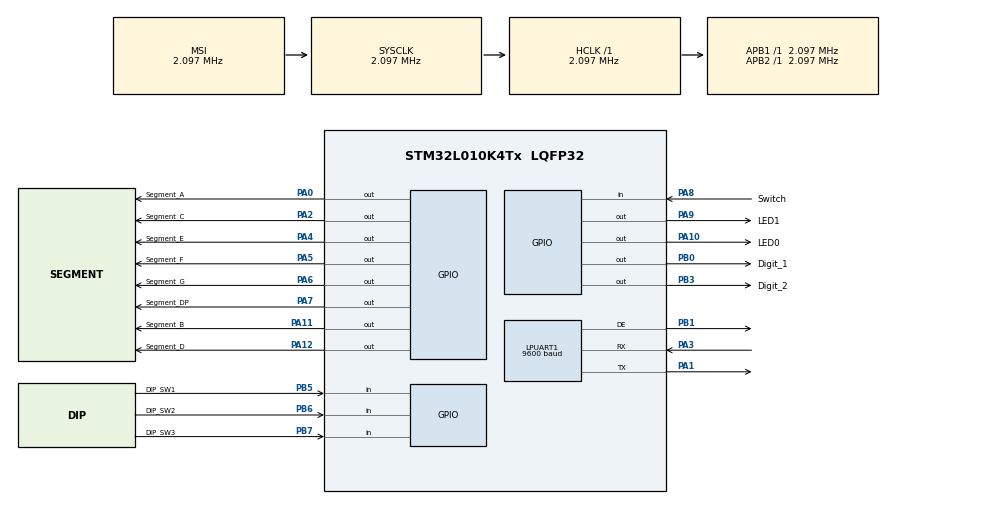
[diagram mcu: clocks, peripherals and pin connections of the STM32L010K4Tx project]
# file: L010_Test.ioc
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LPUART1.BaudRate=9600
LPUART1.WordLength=UART_WORDLENGTH_8B
Mcu.Family=STM32L0
Mcu.Name=STM32L010K4Tx
Mcu.Package=LQFP32
NVIC.LPUART1_IRQn=true\:0\:0\:false\:false\:true\:true\:true\:true
PA0-CK_IN.GPIO_Label=Segment_A
PA0-CK_IN.Signal=GPIO_Output
PA1.Mode=Asynchronous
PA1.Signal=LPUART1_TX
PA10.GPIO_Label=LED0
PA10.Signal=GPIO_Output
PA11.GPIO_Label=Segment_B
PA11.Signal=GPIO_Output
PA12.GPIO_Label=Segment_D
PA12.Signal=GPIO_Output
PA13.Mode=Serial_Wire
PA13.Signal=SYS_SWDIO
PA14.Mode=Serial_Wire
PA14.Signal=SYS_SWCLK
PA2.GPIO_Label=Segment_C
PA2.Signal=GPIO_Output
PA3.Mode=Asynchronous
PA3.Signal=LPUART1_RX
PA4.GPIO_Label=Segment_E
PA4.Signal=GPIO_Output
PA5.GPIO_Label=Segment_F
PA5.Signal=GPIO_Output
PA6.GPIO_Label=Segment_G
PA6.Signal=GPIO_Output
PA7.GPIO_Label=Segment_DP
PA7.Signal=GPIO_Output
PA8.GPIO_Label=Switch
PA8.Signal=GPIO_Input
PA9.GPIO_Label=LED1
PA9.Signal=GPIO_Output
PB0.GPIO_Label=Digit_1
PB0.Signal=GPIO_Output
PB1.Mode=Hardware Flow Control (RS485)
PB1.Signal=LPUART1_DE
PB3.GPIO_Label=Digit_2
PB3.Signal=GPIO_Output
PB5.GPIO_Label=DIP_SW1
PB5.Signal=GPIO_Input
PB6.GPIO_Label=DIP_SW2
PB6.Signal=GPIO_Input
PB7.GPIO_Label=DIP_SW3
PB7.Signal=GPIO_Input
ProjectManager.HeapSize=0x200
ProjectManager.StackSize=0x400
ProjectManager.TargetToolchain=EWARM
RCC.AHBFreq_Value=2097000
RCC.APB1Freq_Value=2097000
RCC.APB1TimFreq_Value=2097000
RCC.APB2Freq_Value=2097000
RCC.APB2TimFreq_Value=2097000
RCC.HSE_VALUE=8000000
RCC.HSI16_VALUE=16000000
RCC.HSI_VALUE=16000000
RCC.LSE_VALUE=32768
RCC.MSI_VALUE=2097000
RCC.SYSCLKFreq_VALUE=2097000
RCC.VCOOutputFreq_Value=48000000
board=custom

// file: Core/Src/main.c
/* USER CODE BEGIN Header */
/**
  ******************************************************************************
  * @file           : main.c
  * @brief          : Main program body
  ******************************************************************************
  * @attention
  *
  * <h2><center>&copy; Copyright (c) 2022 STMicroelectronics.
  * All rights reserved.</center></h2>
  *
  * This software component is licensed by ST under BSD 3-Clause license,
  * the "License"; You may not use this file except in compliance with the
  * License. You may obtain a copy of the License at:
  *                        opensource.org/licenses/BSD-3-Clause
  *
  ******************************************************************************
  */
/* USER CODE END Header */
#include "main.h"

/* USER CODE BEGIN Includes */
#include "Scheduler.h"
#include "stm32l0xx_ll_usart.h"
#include "stm32l0xx_ll_lpuart.h"
#include "serial_user.h"
#include "SevenSegLED.h"

/* USER CODE END Includes */

UART_HandleTypeDef hlpuart1;

/* USER CODE BEGIN PV */
// scheduler stuff
extern uint8_t ten_mS_Flag;
extern uint8_t twentyfive_mS_Flag;
extern uint8_t hundred_mS_Flag;
extern uint8_t one_S_Flag;

// Keyboard/switches
uint8_t button = true;
uint8_t lastButton = true;
uint8_t dipSW = 0x07;

//protocol selection and remote address
uint8_t remoteAddress = 0;
uint8_t protocolSelection = MULTIDROP_485;

// Seven Segment Stuff
dp_status_t dpOn = NoDp;

// variables
uint8_t counter = 0;
uint16_t displayNumber = 0;

// UART Test
uint8_t charCounter = 0;
uint8_t char2Send[2] = {0, 0};
extern uint8_t echoChar[1];
extern uint8_t volatile rxBuffer[];
uint16_t noChar = 1;

// LED stuff
uint8_t toggleLED1 = false;

/* USER CODE END PV */

void SystemClock_Config(void);
static void MX_GPIO_Init(void);
static void MX_LPUART1_UART_Init(void);

int main(void)
{

  /* MCU Configuration--------------------------------------------------------*/

  /* Reset of all peripherals, Initializes the Flash interface and the Systick. */
  HAL_Init();

  /* Configure the system clock */
  SystemClock_Config();

  /* Initialize all configured peripherals */
  MX_GPIO_Init();
  MX_LPUART1_UART_Init();
  /* USER CODE BEGIN 2 */
  // who are we and what are we doing?
  remoteAddress = HAL_GPIO_ReadPin(DIP_SW1_IN);
  protocolSelection = ( (HAL_GPIO_ReadPin(DIP_SW2_IN) << 1) | (HAL_GPIO_ReadPin(DIP_SW3_IN) << 0) );

  LL_LPUART_EnableIT_RXNE(LPUART1);

  InitSevenSegDisplay();
  ParseToDigits(0, NoDp, Blank);
  HAL_GPIO_WritePin(LED0_OUT, GPIO_PIN_SET);
  HAL_GPIO_WritePin(LED1_OUT, GPIO_PIN_SET);

  /* USER CODE END 2 */

  /* Infinite loop */
  /* USER CODE BEGIN WHILE */
  while (1)
  {
    //---------------------------------
    // 10mS Tasks
    if (ten_mS_Flag) {
      ten_mS_Flag = false;

#if(!seg_test)
      UpdateDisplay();
#endif
    }  // end of 10mS Tasks
    //---------------------------------

    //---------------------------------
    // 25mS Tasks
    if (twentyfive_mS_Flag) {
      twentyfive_mS_Flag = false;

    }  // end of 25mS Tasks
    //---------------------------------

    //---------------------------------
    // 100mS Tasks
    if (hundred_mS_Flag) {
      hundred_mS_Flag = false;

      button = HAL_GPIO_ReadPin(SW_IN);
      if ((button == 0) && (lastButton == 1)) {
        if(!remoteAddress)      //remote 1
          SendString("$t",2,StripZeros,AddCRLF);
        else                    //remote 2
          SendString("$0c",3,StripZeros,AddCRLF);
      }

      lastButton = button;

      dipSW = (HAL_GPIO_ReadPin(DIP_SW3_IN) << 2) | (HAL_GPIO_ReadPin(DIP_SW2_IN) << 1) | (HAL_GPIO_ReadPin(DIP_SW1_IN) << 0);

    }  // end of 100mS Tasks
    //---------------------------------

    //---------------------------------
    // 1 Sec Tasks
    if (one_S_Flag) {
      one_S_Flag = false;

      if (protocolSelection == TEST_CODE) {
        HAL_GPIO_TogglePin(LED0_OUT);
        toggleLED1 ^= true;
        if (toggleLED1 == true)
          HAL_GPIO_TogglePin(LED1_OUT);

#if (seg_test)
      digitToggle ^= 1;

      if (digitToggle == 1) {
        HAL_GPIO_WritePin(Digit_1, Digit_ON);
        HAL_GPIO_WritePin(Digit_2, Digit_OFF);
      }
      else {
        HAL_GPIO_WritePin(Digit_1, Digit_OFF);
        HAL_GPIO_WritePin(Digit_2, Digit_ON);
      }

      if (digitToggle == 1) {
        switch (segmentNumber) {
        case 0:
          HAL_GPIO_WritePin(Seg_A, Seg_ON);
          HAL_GPIO_WritePin(Seg_DP, Seg_OFF);
          break;
        case 1:
          HAL_GPIO_WritePin(Seg_B, Seg_ON);
          HAL_GPIO_WritePin(Seg_A, Seg_OFF);
          break;
        case 2:
          HAL_GPIO_WritePin(Seg_C, Seg_ON);
          HAL_GPIO_WritePin(Seg_B, Seg_OFF);
          break;
        case 3:
          HAL_GPIO_WritePin(Seg_D, Seg_ON);
          HAL_GPIO_WritePin(Seg_C, Seg_OFF);
          break;
        case 4:
          HAL_GPIO_WritePin(Seg_E, Seg_ON);
          HAL_GPIO_WritePin(Seg_D, Seg_OFF);
          break;
        case 5:
          HAL_GPIO_WritePin(Seg_F, Seg_ON);
          HAL_GPIO_WritePin(Seg_E, Seg_OFF);
          break;
        case 6:
          HAL_GPIO_WritePin(Seg_G, Seg_ON);
          HAL_GPIO_WritePin(Seg_F, Seg_OFF);
          break;
        case 7:
          HAL_GPIO_WritePin(Seg_DP, Seg_ON);
          HAL_GPIO_WritePin(Seg_G, Seg_OFF);
          break;
        }

        segmentNumber++;
        if (segmentNumber >= 8) segmentNumber = 0;
      }
#else
      counter++;

      ParseToDigits(counter, dpOn, NotBlank);
#endif

      }
      else if (protocolSelection == MULTIDROP_485) {

      }

////// *** START OLD TEST CODE ***
//      char2Send[0] = charCounter++ + 0x40;
//      HAL_UART_Transmit(&hlpuart1, char2Send, 1, 1000);

//      if (charCounter > 0x3A) {
//        charCounter = 0;
//        char2Send[0] = '\n';
//        HAL_UART_Transmit(&hlpuart1, char2Send, 1, 1000);
//      }
////// *** END OLD TEST CODE ***

    } // end of 1Sec Tasks
    //---------------------------------

    //---------------------------------
    // Every time through the loop
    if (nextSerialRxIn != nextSerialRx2Proc) {
      ProcessReceiveBuffer();
    }

    if (processPacket == true) {
      processPacket = false;

      ProcessPacket();
    }

    // end Every time through the loop
    //---------------------------------
    /* USER CODE END WHILE */

  }
}

void SystemClock_Config(void)
{
  RCC_OscInitTypeDef RCC_OscInitStruct = {0};
  RCC_ClkInitTypeDef RCC_ClkInitStruct = {0};
  RCC_PeriphCLKInitTypeDef PeriphClkInit = {0};

  /** Configure the main internal regulator output voltage
  */
  __HAL_PWR_VOLTAGESCALING_CONFIG(PWR_REGULATOR_VOLTAGE_SCALE1);

  /** Initializes the RCC Oscillators according to the specified parameters
  * in the RCC_OscInitTypeDef structure.
  */
  RCC_OscInitStruct.OscillatorType = RCC_OSCILLATORTYPE_MSI;
  RCC_OscInitStruct.MSIState = RCC_MSI_ON;
  RCC_OscInitStruct.MSICalibrationValue = 0;
  RCC_OscInitStruct.MSIClockRange = RCC_MSIRANGE_5;
  RCC_OscInitStruct.PLL.PLLState = RCC_PLL_NONE;
  if (HAL_RCC_OscConfig(&RCC_OscInitStruct) != HAL_OK)
  {
    Error_Handler();
  }

  /** Initializes the CPU, AHB and APB buses clocks
  */
  RCC_ClkInitStruct.ClockType = RCC_CLOCKTYPE_HCLK|RCC_CLOCKTYPE_SYSCLK
                              |RCC_CLOCKTYPE_PCLK1|RCC_CLOCKTYPE_PCLK2;
  RCC_ClkInitStruct.SYSCLKSource = RCC_SYSCLKSOURCE_MSI;
  RCC_ClkInitStruct.AHBCLKDivider = RCC_SYSCLK_DIV1;
  RCC_ClkInitStruct.APB1CLKDivider = RCC_HCLK_DIV1;
  RCC_ClkInitStruct.APB2CLKDivider = RCC_HCLK_DIV1;

  if (HAL_RCC_ClockConfig(&RCC_ClkInitStruct, FLASH_LATENCY_0) != HAL_OK)
  {
    Error_Handler();
  }
  PeriphClkInit.PeriphClockSelection = RCC_PERIPHCLK_LPUART1;
  PeriphClkInit.Lpuart1ClockSelection = RCC_LPUART1CLKSOURCE_PCLK1;
  if (HAL_RCCEx_PeriphCLKConfig(&PeriphClkInit) != HAL_OK)
  {
    Error_Handler();
  }
}

static void MX_LPUART1_UART_Init(void)
{

  hlpuart1.Instance = LPUART1;
  hlpuart1.Init.BaudRate = 9600;
  hlpuart1.Init.WordLength = UART_WORDLENGTH_8B;
  hlpuart1.Init.StopBits = UART_STOPBITS_1;
  hlpuart1.Init.Parity = UART_PARITY_NONE;
  hlpuart1.Init.Mode = UART_MODE_TX_RX;
  hlpuart1.Init.HwFlowCtl = UART_HWCONTROL_NONE;
  hlpuart1.Init.OneBitSampling = UART_ONE_BIT_SAMPLE_DISABLE;
  hlpuart1.AdvancedInit.AdvFeatureInit = UART_ADVFEATURE_NO_INIT;
  if (HAL_RS485Ex_Init(&hlpuart1, UART_DE_POLARITY_HIGH, 0, 0) != HAL_OK)
  {
    Error_Handler();
  }

}

static void MX_GPIO_Init(void)
{
  GPIO_InitTypeDef GPIO_InitStruct = {0};

  /* GPIO Ports Clock Enable */
  __HAL_RCC_GPIOA_CLK_ENABLE();
  __HAL_RCC_GPIOB_CLK_ENABLE();

  /*Configure GPIO pin Output Level */
  HAL_GPIO_WritePin(GPIOA, Segment_A_Pin|Segment_C_Pin|Segment_E_Pin|Segment_F_Pin
                          |Segment_G_Pin|Segment_DP_Pin|LED1_Pin|LED0_Pin
                          |Segment_B_Pin|Segment_D_Pin, GPIO_PIN_RESET);

  /*Configure GPIO pin Output Level */
  HAL_GPIO_WritePin(GPIOB, Digit_1_Pin|Digit_2_Pin, GPIO_PIN_RESET);

  /*Configure GPIO pins : Segment_A_Pin Segment_C_Pin Segment_E_Pin Segment_F_Pin
                           Segment_G_Pin Segment_DP_Pin LED1_Pin LED0_Pin
                           Segment_B_Pin Segment_D_Pin */
  GPIO_InitStruct.Pin = Segment_A_Pin|Segment_C_Pin|Segment_E_Pin|Segment_F_Pin
                          |Segment_G_Pin|Segment_DP_Pin|LED1_Pin|LED0_Pin
                          |Segment_B_Pin|Segment_D_Pin;
  GPIO_InitStruct.Mode = GPIO_MODE_OUTPUT_PP;
  GPIO_InitStruct.Pull = GPIO_NOPULL;
  GPIO_InitStruct.Speed = GPIO_SPEED_FREQ_LOW;
  HAL_GPIO_Init(GPIOA, &GPIO_InitStruct);

  /*Configure GPIO pins : Digit_1_Pin Digit_2_Pin */
  GPIO_InitStruct.Pin = Digit_1_Pin|Digit_2_Pin;
  GPIO_InitStruct.Mode = GPIO_MODE_OUTPUT_PP;
  GPIO_InitStruct.Pull = GPIO_NOPULL;
  GPIO_InitStruct.Speed = GPIO_SPEED_FREQ_LOW;
  HAL_GPIO_Init(GPIOB, &GPIO_InitStruct);

  /*Configure GPIO pin : Switch_Pin */
  GPIO_InitStruct.Pin = Switch_Pin;
  GPIO_InitStruct.Mode = GPIO_MODE_INPUT;
  GPIO_InitStruct.Pull = GPIO_NOPULL;
  HAL_GPIO_Init(Switch_GPIO_Port, &GPIO_InitStruct);

  /*Configure GPIO pins : DIP_SW1_Pin DIP_SW2_Pin DIP_SW3_Pin */
  GPIO_InitStruct.Pin = DIP_SW1_Pin|DIP_SW2_Pin|DIP_SW3_Pin;
  GPIO_InitStruct.Mode = GPIO_MODE_INPUT;
  GPIO_InitStruct.Pull = GPIO_NOPULL;
  HAL_GPIO_Init(GPIOB, &GPIO_InitStruct);

}

void Error_Handler(void)
{
  __disable_irq();
  while (1)
  {
  }
}
